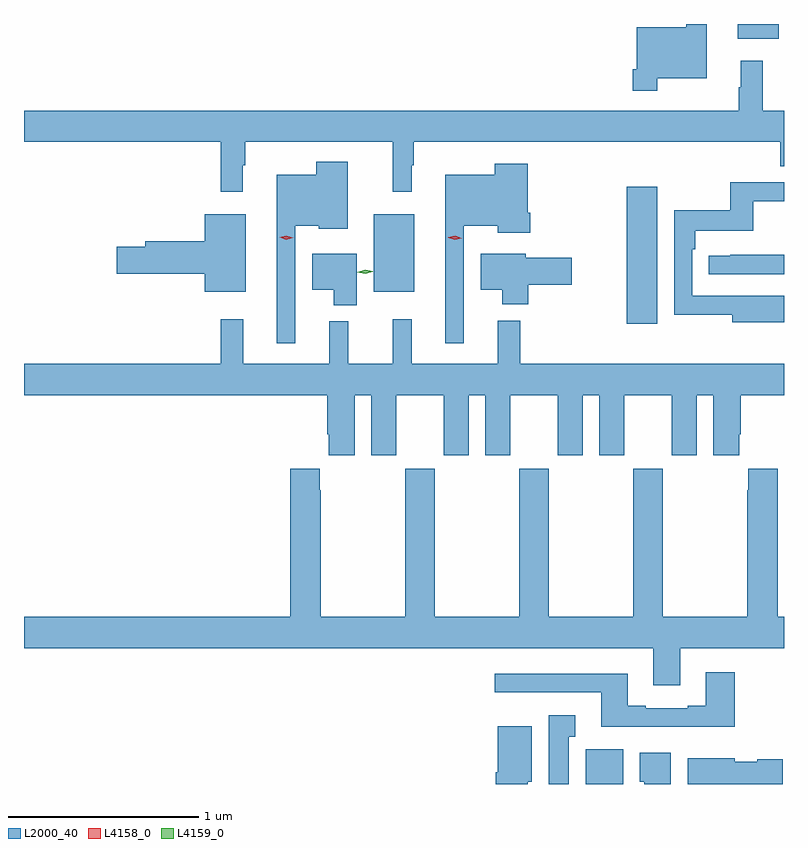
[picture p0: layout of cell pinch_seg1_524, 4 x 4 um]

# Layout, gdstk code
import gdstk
lib = gdstk.Library(unit=1e-6, precision=1e-09)
def R(c, l, rs):  # rectangles x0, y0, x1, y1
    for r in rs: c.add(gdstk.rectangle(r[:2], r[2:], *l))
def P(c, l, *ps):  # polygons
    for p in ps: c.add(gdstk.Polygon(p, *l))
L2000_40 = (2000, 40)
L4158_0 = (4158, 0)
L4159_0 = (4159, 0)

pinch_seg1_524 = lib.new_cell('pinch_seg1_524')
R(pinch_seg1_524, L2000_40, [(1074.452,521.713,1074.649,521.896), (1074.668,524.136,1074.829,524.857), (1073.336,524.303,1073.551,524.713), (1075.253,525.635,1075.468,525.713)])
P(pinch_seg1_524, L2000_40, [(1074.829,525.428),(1075.09,525.428),(1075.09,525.713),(1074.981,525.713),(1074.981,525.697),(1074.72,525.697),(1074.72,525.475),(1074.7,525.475),(1074.7,525.363),(1074.829,525.363)],
  [(1072.648,524.969),(1072.66,524.969),(1072.66,525.092),(1073.437,525.092),(1073.437,524.829),(1073.536,524.829),(1073.536,524.969),(1073.548,524.969),(1073.548,525.092),(1075.477,525.092),(1075.477,524.965),(1075.496,524.965),(1075.496,525.256),(1075.385,525.256),(1075.385,525.52),(1075.268,525.52),(1075.268,525.38),(1075.257,525.38),(1075.257,525.256),(1071.496,525.256),(1071.496,525.092),(1072.531,525.092),(1072.531,524.829),(1072.648,524.829)],
  [(1072.923,524.651),(1073.046,524.651),(1073.046,524.636),(1073.2,524.636),(1073.2,524.989),(1073.035,524.989),(1073.035,524.92),(1072.826,524.92),(1072.826,524.034),(1072.923,524.034)],
  [(1073.811,524.651),(1073.99,524.651),(1073.99,524.615),(1074.161,524.615),(1074.161,524.719),(1074.148,524.719),(1074.148,524.977),(1073.973,524.977),(1073.973,524.92),(1073.714,524.92),(1073.714,524.034),(1073.811,524.034)],
  [(1075.496,524.284),(1075.327,524.284),(1075.327,524.283),(1075.014,524.283),(1075.014,524.528),(1075.028,524.528),(1075.028,524.624),(1075.333,524.624),(1075.333,524.779),(1075.496,524.779),(1075.496,524.88),(1075.212,524.88),(1075.212,524.734),(1074.918,524.734),(1074.918,524.182),(1075.223,524.182),(1075.223,524.144),(1075.496,524.144)],
  [(1072.663,524.713),(1072.448,524.713),(1072.448,524.57),(1072.133,524.57),(1072.133,524.54),(1071.984,524.54),(1071.984,524.398),(1072.448,524.398),(1072.448,524.303),(1072.663,524.303)],
  [(1074.149,524.341),(1074.379,524.341),(1074.379,524.483),(1074.136,524.483),(1074.136,524.503),(1073.9,524.503),(1073.9,524.315),(1074.014,524.315),(1074.014,524.237),(1074.149,524.237)],
  [(1073.248,524.503),(1073.012,524.503),(1073.012,524.315),(1073.126,524.315),(1073.126,524.234),(1073.248,524.234)],
  [(1075.496,524.498),(1075.213,524.498),(1075.213,524.493),(1075.101,524.493),(1075.101,524.397),(1075.496,524.397)],
  [(1073.236,523.76),(1073.324,523.76),(1073.324,523.443),(1073.455,523.443),(1073.455,523.76),(1073.705,523.76),(1073.705,523.443),(1073.836,523.443),(1073.836,523.76),(1073.924,523.76),(1073.924,523.443),(1074.055,523.443),(1074.055,523.76),(1074.305,523.76),(1074.305,523.443),(1074.436,523.443),(1074.436,523.76),(1074.524,523.76),(1074.524,523.443),(1074.655,523.443),(1074.655,523.76),(1074.905,523.76),(1074.905,523.443),(1075.036,523.443),(1075.036,523.76),(1075.124,523.76),(1075.124,523.443),(1075.261,523.443),(1075.261,523.555),(1075.268,523.555),(1075.268,523.76),(1075.496,523.76),(1075.496,523.924),(1074.107,523.924),(1074.107,524.152),(1073.99,524.152),(1073.99,523.924),(1073.537,523.924),(1073.537,524.158),(1073.437,524.158),(1073.437,523.924),(1073.202,523.924),(1073.202,524.149),(1073.102,524.149),(1073.102,523.924),(1072.649,523.924),(1072.649,524.158),(1072.531,524.158),(1072.531,523.924),(1071.496,523.924),(1071.496,523.76),(1073.093,523.76),(1073.093,523.555),(1073.099,523.555),(1073.099,523.443),(1073.236,523.443)],
  [(1074.949,522.428),(1075.496,522.428),(1075.496,522.592),(1075.463,522.592),(1075.463,523.371),(1075.307,523.371),(1075.307,523.259),(1075.303,523.259),(1075.303,522.592),(1074.858,522.592),(1074.858,523.371),(1074.703,523.371),(1074.703,522.592),(1074.258,522.592),(1074.258,523.371),(1074.103,523.371),(1074.103,522.592),(1073.658,522.592),(1073.658,523.371),(1073.503,523.371),(1073.503,522.592),(1073.058,522.592),(1073.058,523.259),(1073.053,523.259),(1073.053,523.371),(1072.898,523.371),(1072.898,522.592),(1071.496,522.592),(1071.496,522.428),(1074.809,522.428),(1074.809,522.234),(1074.949,522.234)],
  [(1075.238,522.301),(1075.085,522.301),(1075.085,522.124),(1074.989,522.124),(1074.989,522.111),(1074.769,522.111),(1074.769,522.124),(1074.673,522.124),(1074.673,522.292),(1073.973,522.292),(1073.973,522.195),(1074.533,522.195),(1074.533,522.014),(1075.238,522.014)],
  [(1074.364,521.963),(1074.397,521.963),(1074.397,522.076),(1074.257,522.076),(1074.257,521.713),(1074.364,521.713)],
  [(1074.148,521.724),(1074.169,521.724),(1074.169,522.016),(1073.99,522.016),(1073.99,521.776),(1073.978,521.776),(1073.978,521.713),(1074.148,521.713)],
  [(1074.901,521.878),(1074.737,521.878),(1074.737,521.724),(1074.761,521.724),(1074.761,521.713),(1074.901,521.713)],
  [(1075.489,521.843),(1075.356,521.843),(1075.356,521.83),(1075.236,521.83),(1075.236,521.848),(1074.989,521.848),(1074.989,521.713),(1075.489,521.713)])
P(pinch_seg1_524, L4158_0, [(1073.764,524.578),(1073.73,524.589),(1073.729,524.59),(1073.73,524.59),(1073.766,524.598),(1073.8,524.586),(1073.801,524.586),(1073.8,524.586)],
  [(1072.876,524.578),(1072.841,524.59),(1072.841,524.59),(1072.841,524.59),(1072.877,524.598),(1072.912,524.587),(1072.912,524.587),(1072.912,524.587)])
P(pinch_seg1_524, L4159_0, [(1073.292,524.399),(1073.25,524.407),(1073.25,524.407),(1073.25,524.407),(1073.291,524.419),(1073.332,524.411),(1073.332,524.411),(1073.332,524.41)])

lib.write_gds('pinch_seg1_524.gds')
